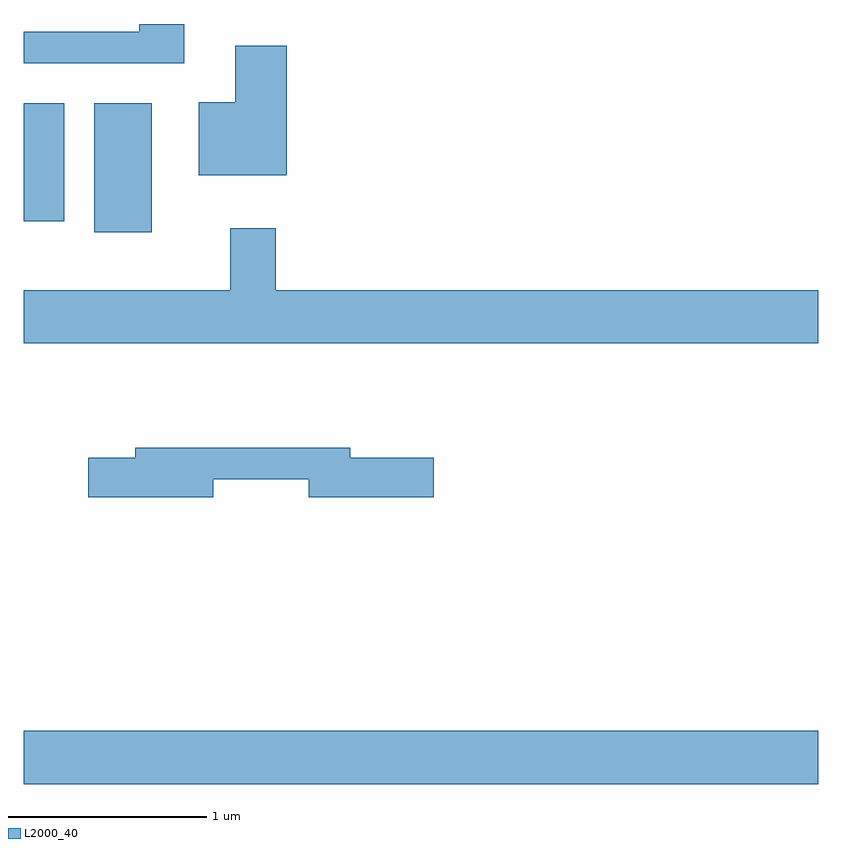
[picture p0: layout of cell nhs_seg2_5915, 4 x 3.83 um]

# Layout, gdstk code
import gdstk
lib = gdstk.Library(unit=1e-6, precision=1e-09)
def R(c, l, rs):  # rectangles x0, y0, x1, y1
    for r in rs: c.add(gdstk.rectangle(r[:2], r[2:], *l))
def P(c, l, *ps):  # polygons
    for p in ps: c.add(gdstk.Polygon(p, *l))
L2000_40 = (2000, 40)

nhs_seg2_5915 = lib.new_cell('nhs_seg2_5915')
R(nhs_seg2_5915, L2000_40, [(359.611,1043.876,363.611,1044.144), (359.966,1046.656,360.254,1047.304), (359.611,1046.711,359.814,1047.304)])
P(nhs_seg2_5915, L2000_40, [(360.419,1047.704),(360.191,1047.704),(360.191,1047.664),(359.611,1047.664),(359.611,1047.506),(360.419,1047.506)],
  [(360.934,1047.594),(360.676,1047.594),(360.676,1047.309),(360.491,1047.309),(360.491,1046.941),(360.934,1046.941)],
  [(363.611,1046.364),(360.879,1046.364),(360.879,1046.674),(360.651,1046.674),(360.651,1046.364),(359.611,1046.364),(359.611,1046.096),(363.611,1046.096)],
  [(360.564,1045.411),(361.046,1045.411),(361.046,1045.321),(361.674,1045.321),(361.674,1045.519),(361.254,1045.519),(361.254,1045.569),(360.171,1045.569),(360.171,1045.519),(359.936,1045.519),(359.936,1045.321),(360.564,1045.321)])

lib.write_gds('nhs_seg2_5915.gds')
